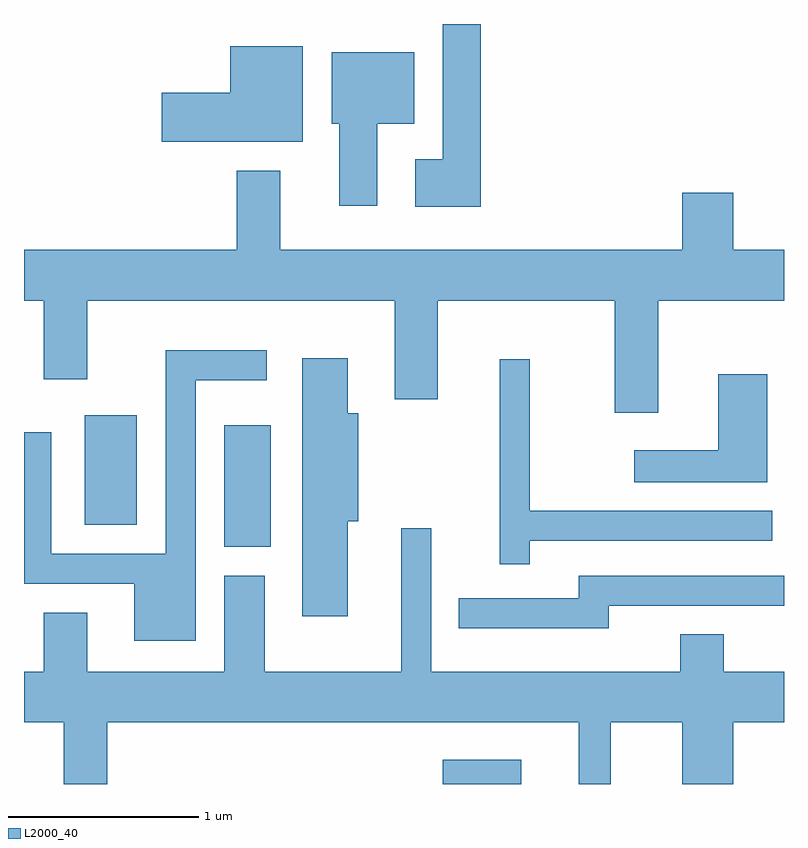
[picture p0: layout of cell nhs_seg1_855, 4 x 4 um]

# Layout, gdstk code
import gdstk
lib = gdstk.Library(unit=1e-6, precision=1e-09)
def R(c, l, rs):  # rectangles x0, y0, x1, y1
    for r in rs: c.add(gdstk.rectangle(r[:2], r[2:], *l))
def P(c, l, *ps):  # polygons
    for p in ps: c.add(gdstk.Polygon(p, *l))
L2000_40 = (2000, 40)

nhs_seg1_855 = lib.new_cell('nhs_seg1_855')
R(nhs_seg1_855, L2000_40, [(213.816,883.712,214.229,883.839), (212.666,884.961,212.909,885.599), (211.931,885.076,212.204,885.654)])
P(nhs_seg1_855, L2000_40, [(214.014,887.712),(213.816,887.712),(213.816,886.999),(213.671,886.999),(213.671,886.751),(214.014,886.751)],
  [(213.079,887.594),(212.696,887.594),(212.696,887.349),(212.336,887.349),(212.336,887.091),(213.079,887.091)],
  [(213.469,887.186),(213.664,887.186),(213.664,887.564),(213.231,887.564),(213.231,887.186),(213.271,887.186),(213.271,886.756),(213.469,886.756)],
  [(214.949,886.256),(215.611,886.256),(215.611,886.524),(215.344,886.524),(215.344,886.824),(215.076,886.824),(215.076,886.524),(212.959,886.524),(212.959,886.939),(212.731,886.939),(212.731,886.524),(211.611,886.524),(211.611,886.256),(211.716,886.256),(211.716,885.841),(211.944,885.841),(211.944,886.256),(213.561,886.256),(213.561,885.736),(213.789,885.736),(213.789,886.256),(214.721,886.256),(214.721,885.666),(214.949,885.666)],
  [(212.514,885.836),(212.888,885.836),(212.888,885.994),(212.356,885.994),(212.356,884.924),(211.754,884.924),(211.754,885.563),(211.611,885.563),(211.611,884.766),(212.191,884.766),(212.191,884.466),(212.514,884.466)],
  [(213.314,885.096),(213.369,885.096),(213.369,885.664),(213.314,885.664),(213.314,885.954),(213.076,885.954),(213.076,884.596),(213.314,884.596)],
  [(214.274,884.991),(215.548,884.991),(215.548,885.149),(214.274,885.149),(214.274,885.948),(214.116,885.948),(214.116,884.868),(214.274,884.868)],
  [(215.524,885.869),(215.266,885.869),(215.266,885.469),(214.823,885.469),(214.823,885.301),(215.524,885.301)],
  [(212.049,884.036),(214.531,884.036),(214.531,883.712),(214.699,883.712),(214.699,884.036),(215.076,884.036),(215.076,883.712),(215.344,883.712),(215.344,884.036),(215.611,884.036),(215.611,884.304),(215.294,884.304),(215.294,884.499),(215.066,884.499),(215.066,884.304),(213.754,884.304),(213.754,885.058),(213.596,885.058),(213.596,884.304),(212.879,884.304),(212.879,884.809),(212.666,884.809),(212.666,884.304),(211.944,884.304),(211.944,884.614),(211.716,884.614),(211.716,884.304),(211.611,884.304),(211.611,884.036),(211.821,884.036),(211.821,883.712),(212.049,883.712)],
  [(214.689,884.651),(215.611,884.651),(215.611,884.809),(214.531,884.809),(214.531,884.689),(213.898,884.689),(213.898,884.531),(214.689,884.531)])

lib.write_gds('nhs_seg1_855.gds')
